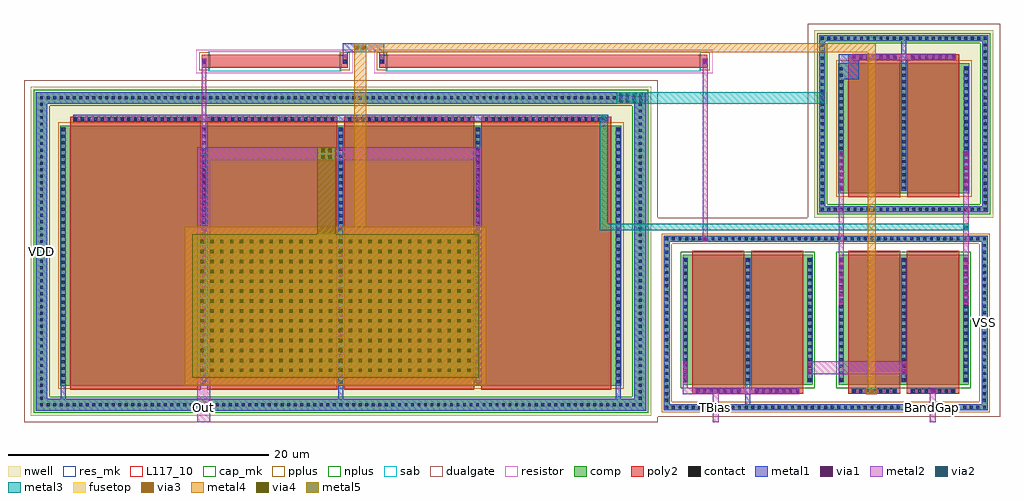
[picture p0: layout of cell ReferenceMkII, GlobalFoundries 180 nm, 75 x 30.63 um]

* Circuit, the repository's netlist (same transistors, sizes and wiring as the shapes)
* ReferenceMkII: 1.7 V bias LDO (one LDOMkI + divider + feed-forward cap + tail diode)
* Same devices/values as the 1V7 branch of Schematic/LDO/ReferenceMkI.sch.
.subckt ReferenceMkII VDD VSS BandGap TBias Out
* ErrorAmplifierNMOSMkI
MX1 mn mn VDD VDD pfet_06v0 W=10u L=4u
MX2 G mn VDD VDD pfet_06v0 W=10u L=4u
MX3 G BandGap tail VSS nfet_06v0 W=10u L=4u
MX4 tail TBias VSS VSS nfet_06v0 W=10u L=4u
MX5 mn FB tail VSS nfet_06v0 W=10u L=4u
* LDOMkI pass device
MP Out G VDD VDD pfet_06v0 W=80u L=10u
* tail bias diode (X2 in ReferenceMkI)
MXB TBias TBias VSS VSS nfet_06v0 W=10u L=4u
* divider and feed-forward cap
RR5 Out FB VSS ppolyf_u_1k W=1u L=10u
RR7 FB VSS VSS ppolyf_u_1k W=1u L=24u
CC2 Out FB cap_mim_2f0fF W=11u L=22u
.ends

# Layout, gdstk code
import gdstk
lib = gdstk.Library(unit=1e-6, precision=1e-09)
def R(c, l, rs):  # rectangles x0, y0, x1, y1
    for r in rs: c.add(gdstk.rectangle(r[:2], r[2:], *l))
def A(c, l, x, y, w, h, nx, ny, dx, dy):  # array of equal rectangles
    R(c, l, [(x+i*dx, y+j*dy, x+i*dx+w, y+j*dy+h) for i in range(nx) for j in range(ny)])
def P(c, l, *ps):  # polygons
    for p in ps: c.add(gdstk.Polygon(p, *l))
nwell = (21, 0)
comp = (22, 0)
poly2 = (30, 0)
pplus = (31, 0)
nplus = (32, 0)
contact = (33, 0)
metal1 = (34, 0)
via1 = (35, 0)
metal2 = (36, 0)
via2 = (38, 0)
via3 = (40, 0)
via4 = (41, 0)
metal3 = (42, 0)
metal4 = (46, 0)
sab = (49, 0)
dualgate = (55, 0)
resistor = (62, 0)
fusetop = (75, 0)
metal5 = (81, 0)
res_mk = (110, 5)
cap_mk = (117, 5)
L117_10 = (117, 10)

pfet = lib.new_cell('pfet')
R(pfet, nwell, [(-1.24,-0.91,43.42,21.29)])
R(pfet, comp, [(-0.46,0,42.64,20)])
A(pfet, poly2, 0.31, -0.3, 10, 20.98, 4, 1, 10.52, 0)
R(pfet, pplus, [(-0.63,-0.24,42.81,20.24)])
A(pfet, contact, -0.34, 0.2, 0.22, 0.22, 1, 39, 0, 0.51)
A(pfet, contact, 10.46, 0.2, 0.22, 0.22, 3, 39, 10.52, 0.51)
A(pfet, contact, 42.3, 0.2, 0.22, 0.22, 1, 39, 0, 0.51)
A(pfet, contact, 0.61, 20.38, 0.22, 0.22, 19, 1, 0.51, 0)
A(pfet, contact, 11.13, 20.38, 0.22, 0.22, 19, 1, 0.51, 0)
A(pfet, contact, 21.65, 20.38, 0.22, 0.22, 19, 1, 0.51, 0)
A(pfet, contact, 32.17, 20.38, 0.22, 0.22, 19, 1, 0.51, 0)
A(pfet, metal1, 10.38, 0.12, 0.38, 19.76, 3, 1, 10.52, 0)
A(pfet, metal1, 0.53, 20.3, 9.56, 0.38, 4, 1, 10.52, 0)
R(pfet, metal1, [(-0.42,0.12,-0.04,19.88), (42.22,0.12,42.6,19.88)])
R(pfet, dualgate, [(-1.74,-1.41,43.92,21.79)])

nfet = lib.new_cell('nfet')
R(nfet, comp, [(-0.42,0,9.56,10)])
R(nfet, poly2, [(0.31,-0.66,4.31,10.3), (4.83,-0.66,8.83,10.3)])
R(nfet, nplus, [(-0.59,-0.24,9.73,10.24)])
A(nfet, contact, 0.67, -0.59, 0.22, 0.22, 7, 1, 0.51, 0)
A(nfet, contact, 5.19, -0.59, 0.22, 0.22, 7, 1, 0.51, 0)
A(nfet, contact, -0.32, 0.3, 0.22, 0.22, 3, 19, 4.78, 0.51)
A(nfet, metal1, -0.4, 0.22, 0.38, 9.56, 3, 1, 4.78, 0)
R(nfet, metal1, [(0.59,-0.67,4.03,-0.29), (5.11,-0.67,8.55,-0.29)])
R(nfet, dualgate, [(-0.84,-1.08,9.98,10.71)])

pfet_1 = lib.new_cell('pfet$1')
R(pfet_1, nwell, [(-1.24,-0.91,10.38,11.29)])
R(pfet_1, comp, [(-0.46,0,9.6,10)])
R(pfet_1, poly2, [(0.31,-0.3,4.31,10.68), (4.83,-0.3,8.83,10.68)])
R(pfet_1, pplus, [(-0.63,-0.24,9.77,10.24)])
A(pfet_1, contact, -0.34, 0.3, 0.22, 0.22, 3, 19, 4.8, 0.51)
A(pfet_1, contact, 0.67, 10.38, 0.22, 0.22, 7, 1, 0.51, 0)
A(pfet_1, contact, 5.19, 10.38, 0.22, 0.22, 7, 1, 0.51, 0)
A(pfet_1, metal1, -0.42, 0.22, 0.38, 9.56, 3, 1, 4.8, 0)
R(pfet_1, metal1, [(0.59,10.3,4.03,10.68), (5.11,10.3,8.55,10.68)])
R(pfet_1, dualgate, [(-1.74,-1.41,10.88,11.79)])

cap_mim = lib.new_cell('cap_mim')
A(cap_mim, via4, 0.61, 0.43, 0.26, 0.26, 28, 14, 0.76, 0.76)
R(cap_mim, metal4, [(-0.6,-0.6,22.6,11.6)])
R(cap_mim, fusetop, [(0,0,22,11)])
R(cap_mim, metal5, [(0,0,22,11)])
R(cap_mim, cap_mk, [(-0.6,-0.6,22.6,11.6)])
R(cap_mim, L117_10, [(0,0,22,0.1)])

referencemkii = lib.new_cell('ReferenceMkII')
R(referencemkii, nwell, [(0.5,0.5,48.2,25.78), (60.72,15.73,74.5,30.13)])
P(referencemkii, comp, [(0.9,0.9),(0.9,24.48),(1.8,24.48),(1.8,1.8),(46.9,1.8),(46.9,24.48),(0.9,24.48),(0.9,25.38),(47.8,25.38),(47.8,0.9)],
  [(49.16,0.94),(49.16,13.87),(49.62,13.87),(49.62,1.4),(73.58,1.4),(73.58,13.87),(49.16,13.87),(49.16,14.33),(74.04,14.33),(74.04,0.94)],
  [(61.12,16.13),(61.12,29.27),(61.58,29.27),(61.58,16.59),(73.64,16.59),(73.64,29.27),(61.12,29.27),(61.12,29.73),(74.1,29.73),(74.1,16.13)])
R(referencemkii, poly2, [(13.65,27.24,24.87,28.24), (27.3,27.24,52.52,28.24)])
R(referencemkii, pplus, [(13.47,27.06,14.26,28.42), (24.26,27.06,25.05,28.42), (27.12,27.06,27.91,28.42), (51.91,27.06,52.7,28.42)])
P(referencemkii, pplus, [(49,0.78),(49,13.71),(49.78,13.71),(49.78,1.56),(73.42,1.56),(73.42,13.71),(49,13.71),(49,14.49),(74.2,14.49),(74.2,0.78)])
P(referencemkii, nplus, [(0.74,0.74),(0.74,24.32),(1.96,24.32),(1.96,1.96),(46.74,1.96),(46.74,24.32),(0.74,24.32),(0.74,25.54),(47.96,25.54),(47.96,0.74)],
  [(60.96,15.97),(60.96,29.11),(61.74,29.11),(61.74,16.75),(73.48,16.75),(73.48,29.11),(60.96,29.11),(60.96,29.89),(74.26,29.89),(74.26,15.97)])
A(referencemkii, contact, 49.28, 1.06, 0.22, 0.22, 3, 2, 0.51, 12.93)
A(referencemkii, contact, 50.805, 1.06, 0.22, 0.22, 3, 2, 0.51, 12.93)
A(referencemkii, contact, 52.33, 1.06, 0.22, 0.22, 5, 2, 0.51, 12.93)
A(referencemkii, contact, 54.875, 1.06, 0.22, 0.22, 3, 2, 0.51, 12.93)
A(referencemkii, contact, 56.4, 1.06, 0.22, 0.22, 5, 2, 0.51, 12.93)
A(referencemkii, contact, 58.945, 1.06, 0.22, 0.22, 3, 2, 0.51, 12.93)
A(referencemkii, contact, 60.47, 1.06, 0.22, 0.22, 5, 2, 0.51, 12.93)
A(referencemkii, contact, 63.015, 1.06, 0.22, 0.22, 3, 2, 0.51, 12.93)
A(referencemkii, contact, 64.54, 1.06, 0.22, 0.22, 5, 2, 0.51, 12.93)
A(referencemkii, contact, 67.085, 1.06, 0.22, 0.22, 3, 2, 0.51, 12.93)
A(referencemkii, contact, 68.61, 1.06, 0.22, 0.22, 5, 2, 0.51, 12.93)
A(referencemkii, contact, 71.155, 1.06, 0.22, 0.22, 4, 2, 0.51, 12.93)
A(referencemkii, contact, 1.24, 1.24, 0.22, 0.22, 93, 2, 0.5, 23.58)
A(referencemkii, contact, 1.24, 2.245, 0.22, 0.22, 1, 3, 0, 0.5)
A(referencemkii, contact, 47.24, 2.245, 0.22, 0.22, 1, 3, 0, 0.5)
A(referencemkii, contact, 1.24, 3.75, 0.22, 0.22, 1, 3, 0, 0.5)
A(referencemkii, contact, 47.24, 3.75, 0.22, 0.22, 1, 3, 0, 0.5)
A(referencemkii, contact, 49.28, 5.2, 0.22, 0.22, 1, 3, 0, 0.515)
A(referencemkii, contact, 73.7, 5.2, 0.22, 0.22, 1, 3, 0, 0.515)
A(referencemkii, contact, 1.24, 5.255, 0.22, 0.22, 1, 3, 0, 0.5)
A(referencemkii, contact, 47.24, 5.255, 0.22, 0.22, 1, 3, 0, 0.5)
A(referencemkii, contact, 1.24, 6.76, 0.22, 0.22, 1, 3, 0, 0.5)
A(referencemkii, contact, 47.24, 6.76, 0.22, 0.22, 1, 3, 0, 0.5)
A(referencemkii, contact, 1.24, 8.265, 0.22, 0.22, 1, 3, 0, 0.5)
A(referencemkii, contact, 47.24, 8.265, 0.22, 0.22, 1, 3, 0, 0.5)
A(referencemkii, contact, 49.28, 8.82, 0.22, 0.22, 1, 3, 0, 0.515)
A(referencemkii, contact, 73.7, 8.82, 0.22, 0.22, 1, 3, 0, 0.515)
A(referencemkii, contact, 1.24, 9.77, 0.22, 0.22, 1, 3, 0, 0.5)
A(referencemkii, contact, 47.24, 9.77, 0.22, 0.22, 1, 3, 0, 0.5)
A(referencemkii, contact, 1.24, 11.275, 0.22, 0.22, 1, 3, 0, 0.5)
A(referencemkii, contact, 47.24, 11.275, 0.22, 0.22, 1, 3, 0, 0.5)
A(referencemkii, contact, 1.24, 13.785, 0.22, 0.22, 1, 3, 0, 0.5)
A(referencemkii, contact, 47.24, 13.785, 0.22, 0.22, 1, 3, 0, 0.5)
A(referencemkii, contact, 1.24, 15.29, 0.22, 0.22, 1, 3, 0, 0.5)
A(referencemkii, contact, 47.24, 15.29, 0.22, 0.22, 1, 3, 0, 0.5)
A(referencemkii, contact, 61.24, 16.25, 0.22, 0.22, 4, 2, 0.5, 13.14)
A(referencemkii, contact, 63.245, 16.25, 0.22, 0.22, 6, 2, 0.5, 13.14)
A(referencemkii, contact, 66.25, 16.25, 0.22, 0.22, 6, 2, 0.5, 13.14)
A(referencemkii, contact, 69.255, 16.25, 0.22, 0.22, 6, 2, 0.5, 13.14)
A(referencemkii, contact, 72.26, 16.25, 0.22, 0.22, 4, 2, 0.5, 13.14)
A(referencemkii, contact, 61.24, 16.755, 0.22, 0.22, 1, 6, 0, 0.505)
A(referencemkii, contact, 73.76, 16.755, 0.22, 0.22, 1, 6, 0, 0.505)
A(referencemkii, contact, 1.24, 16.795, 0.22, 0.22, 1, 3, 0, 0.5)
A(referencemkii, contact, 47.24, 16.795, 0.22, 0.22, 1, 3, 0, 0.5)
A(referencemkii, contact, 1.24, 18.3, 0.22, 0.22, 1, 3, 0, 0.5)
A(referencemkii, contact, 47.24, 18.3, 0.22, 0.22, 1, 3, 0, 0.5)
A(referencemkii, contact, 61.24, 19.79, 0.22, 0.22, 1, 13, 0, 0.505)
A(referencemkii, contact, 73.76, 19.79, 0.22, 0.22, 1, 13, 0, 0.505)
A(referencemkii, contact, 1.24, 19.805, 0.22, 0.22, 1, 3, 0, 0.5)
A(referencemkii, contact, 47.24, 19.805, 0.22, 0.22, 1, 3, 0, 0.5)
A(referencemkii, contact, 1.24, 21.31, 0.22, 0.22, 1, 3, 0, 0.5)
A(referencemkii, contact, 47.24, 21.31, 0.22, 0.22, 1, 3, 0, 0.5)
A(referencemkii, contact, 1.24, 22.815, 0.22, 0.22, 1, 3, 0, 0.5)
A(referencemkii, contact, 47.24, 22.815, 0.22, 0.22, 1, 3, 0, 0.5)
A(referencemkii, contact, 61.24, 26.36, 0.22, 0.22, 1, 6, 0, 0.505)
A(referencemkii, contact, 73.76, 26.36, 0.22, 0.22, 1, 6, 0, 0.505)
R(referencemkii, contact, [(73.19,1.06,73.41,1.28), (73.7,1.06,73.92,1.28), (49.28,1.575,49.5,1.795), (73.7,1.575,73.92,1.795), (1.24,1.74,1.46,1.96), (47.24,1.74,47.46,1.96), (49.28,2.095,49.5,2.315), (73.7,2.095,73.92,2.315), (49.28,2.61,49.5,2.83), (73.7,2.61,73.92,2.83), (49.28,3.13,49.5,3.35), (73.7,3.13,73.92,3.35), (49.28,3.645,49.5,3.865), (73.7,3.645,73.92,3.865), (49.28,4.165,49.5,4.385), (73.7,4.165,73.92,4.385), (49.28,4.68,49.5,4.9), (73.7,4.68,73.92,4.9), (49.28,6.75,49.5,6.97), (73.7,6.75,73.92,6.97), (49.28,7.265,49.5,7.485), (73.7,7.265,73.92,7.485), (49.28,7.785,49.5,8.005), (73.7,7.785,73.92,8.005), (49.28,8.3,49.5,8.52), (73.7,8.3,73.92,8.52), (49.28,10.37,49.5,10.59), (73.7,10.37,73.92,10.59), (49.28,10.885,49.5,11.105), (73.7,10.885,73.92,11.105), (49.28,11.405,49.5,11.625), (73.7,11.405,73.92,11.625), (49.28,11.92,49.5,12.14), (73.7,11.92,73.92,12.14), (49.28,12.44,49.5,12.66), (73.7,12.44,73.92,12.66), (1.24,12.78,1.46,13), (47.24,12.78,47.46,13), (49.28,12.955,49.5,13.175), (73.7,12.955,73.92,13.175), (1.24,13.28,1.46,13.5), (47.24,13.28,47.46,13.5), (49.28,13.475,49.5,13.695), (73.7,13.475,73.92,13.695), (73.19,13.99,73.41,14.21), (73.7,13.99,73.92,14.21), (1.24,24.32,1.46,24.54), (47.24,24.32,47.46,24.54), (13.72,27.63,13.94,27.85), (24.58,27.63,24.8,27.85), (27.37,27.63,27.59,27.85), (52.23,27.63,52.45,27.85)])
A(referencemkii, metal1, 2.84, 0.9, 0.38, 3.02, 3, 1, 21.32, 0)
R(referencemkii, metal1, [(55.42,0.94,55.8,4.09), (3.79,23.1,44.91,23.64), (62.62,26.37,64.13,28.27), (67.42,26.37,67.8,29.73), (13.64,27.55,14.02,27.93), (13.64,27.55,14.02,27.93), (24.5,27.55,24.88,27.93), (24.5,27.55,24.88,29.14), (27.29,27.55,27.67,27.93), (27.29,27.55,27.67,29.14), (52.15,27.55,52.53,27.93), (24.5,28.44,27.67,29.14)])
P(referencemkii, metal1, [(0.9,0.9),(0.9,24.48),(1.8,24.48),(1.8,1.8),(46.9,1.8),(46.9,24.48),(0.9,24.48),(0.9,25.38),(47.8,25.38),(47.8,0.9)],
  [(49.16,0.94),(49.16,13.87),(49.62,13.87),(49.62,1.4),(73.58,1.4),(73.58,13.87),(49.16,13.87),(49.16,14.33),(74.04,14.33),(74.04,0.94)],
  [(61.12,16.13),(61.12,29.27),(61.58,29.27),(61.58,16.59),(73.64,16.59),(73.64,29.27),(61.12,29.27),(61.12,29.73),(74.1,29.73),(74.1,16.13)])
A(referencemkii, via1, 51.66, 2.26, 0.26, 0.26, 7, 1, 0.52, 0)
A(referencemkii, via1, 56.18, 2.26, 0.26, 0.26, 7, 1, 0.52, 0)
A(referencemkii, via1, 50.7, 3.34, 0.26, 0.26, 1, 3, 0, 0.52)
A(referencemkii, via1, 13.7, 3.47, 0.26, 0.26, 1, 34, 0, 0.52)
A(referencemkii, via1, 34.74, 3.47, 0.26, 0.26, 1, 34, 0, 0.52)
A(referencemkii, via1, 62.68, 9.16, 0.26, 0.26, 1, 7, 0, 0.52)
A(referencemkii, via1, 72.24, 9.16, 0.26, 0.26, 1, 7, 0, 0.52)
A(referencemkii, via1, 62.68, 17.88, 0.26, 0.26, 1, 6, 0, 0.52)
A(referencemkii, via1, 72.28, 17.88, 0.26, 0.26, 1, 6, 0, 0.52)
A(referencemkii, via1, 45.735, 24.54, 0.26, 0.26, 4, 2, 0.52, 0.52)
A(referencemkii, via1, 63.66, 27.95, 0.26, 0.26, 7, 1, 0.52, 0)
A(referencemkii, via1, 68.18, 27.95, 0.26, 0.26, 7, 1, 0.52, 0)
R(referencemkii, via1, [(65.01,2.26,65.27,2.52), (69.72,2.26,69.98,2.52), (60.26,3.8,60.52,4.06), (67.46,3.8,67.72,4.06), (60.26,4.32,60.52,4.58), (67.46,4.32,67.72,4.58), (52.21,13.97,52.47,14.23), (44.41,23.24,44.67,23.5), (61.22,24.54,61.48,24.8), (61.22,25.06,61.48,25.32), (13.7,27.61,13.96,27.87), (52.21,27.61,52.47,27.87), (25.45,28.66,25.71,28.92), (25.97,28.66,26.23,28.92)])
R(referencemkii, metal2, [(13.33,0,14.33,1.44), (52.94,0,53.4,1.44), (69.62,0,70.08,1.44), (13.33,0.94,14.33,21.14), (52.94,0.94,53.4,2.64), (69.62,0.94,70.08,2.64), (50.64,2.14,51.02,4.69), (50.64,2.14,59.59,2.64), (64.74,2.14,65.54,2.64), (13.64,2.92,14.02,21.14), (34.68,2.92,35.06,21.14), (60.2,3.69,67.78,4.69), (62.62,9.05,63,20.81), (72.18,9.05,72.6,20.81), (52.15,13.87,52.53,27.93), (13.33,20.14,35.06,21.14), (13.64,20.14,35.06,21.14), (13.64,20.14,14.02,27.93), (44.24,23.1,44.84,23.64), (45.54,24.48,47.75,25.38), (61.12,24.48,61.58,25.38), (63.63,27.83,71.59,28.33), (25.39,28.44,26.29,29.14)])
A(referencemkii, via2, 45.735, 24.54, 0.26, 0.26, 4, 2, 0.52, 0.52)
R(referencemkii, via2, [(65.01,2.26,65.27,2.52), (72.26,14.86,72.52,15.12), (22.85,20.25,23.11,20.51), (23.37,20.25,23.63,20.51), (22.85,20.77,23.11,21.03), (23.37,20.77,23.63,21.03), (44.41,23.24,44.67,23.5), (61.22,24.54,61.48,24.8), (61.22,25.06,61.48,25.32), (25.45,28.66,25.71,28.92), (25.97,28.66,26.23,28.92)])
R(referencemkii, via3, [(65.01,2.26,65.27,2.52), (22.85,20.25,23.11,20.51), (23.37,20.25,23.63,20.51), (22.85,20.77,23.11,21.03), (23.37,20.77,23.63,21.03), (25.45,28.66,25.71,28.92), (25.97,28.66,26.23,28.92)])
R(referencemkii, via4, [(22.85,20.25,23.11,20.51), (23.37,20.25,23.63,20.51), (22.85,20.77,23.11,21.03), (23.37,20.77,23.63,21.03)])
R(referencemkii, metal3, [(64.74,2.14,65.54,2.64), (44.24,14.74,72.6,15.24), (44.24,14.74,44.84,23.64), (22.54,20.14,23.94,21.14), (44.24,23.1,44.84,23.64), (45.54,24.48,47.75,25.38), (45.54,24.48,61.58,25.38), (61.12,24.48,61.58,25.38), (25.39,28.44,26.29,29.14)])
R(referencemkii, metal4, [(64.74,2.14,65.54,2.64), (64.84,2.14,65.44,29.14), (25.39,13.44,26.29,29.14), (22.54,20.14,23.94,21.14), (25.39,28.44,26.29,29.14), (25.39,28.44,65.44,29.14)])
R(referencemkii, sab, [(14.16,26.96,24.36,28.52), (27.81,26.96,52.01,28.52)])
P(referencemkii, dualgate, [(0,0),(0,26.28),(48.7,26.28),(48.7,15.73),(60.22,15.73),(60.22,30.63),(75,30.63),(75,0.44),(48.7,0.44),(48.7,0)])
R(referencemkii, resistor, [(13.25,26.84,25.27,28.64), (26.9,26.84,52.92,28.64)])
R(referencemkii, metal5, [(22.54,13.44,23.94,21.14), (22.54,20.14,23.94,21.14)])
R(referencemkii, res_mk, [(14.26,27.24,24.26,28.24), (27.91,27.24,51.91,28.24)])
referencemkii.add(gdstk.Reference(pfet, (3.26,2.8)))
referencemkii.add(gdstk.Reference(nfet, (51.04,2.87)))
referencemkii.add(gdstk.Reference(nfet, (63.02,2.87)))
referencemkii.add(gdstk.Reference(pfet_1, (63.04,17.59)))
referencemkii.add(gdstk.Reference(cap_mim, (12.94,3.44)))
referencemkii.add(gdstk.Label('Out', (13.83,1.14), layer=36, texttype=10))
referencemkii.add(gdstk.Label('TBias', (53.17,1.14), layer=36, texttype=10))
referencemkii.add(gdstk.Label('BandGap', (69.85,1.14), layer=36, texttype=10))
referencemkii.add(gdstk.Label('VDD', (1.35,13.14), layer=34, texttype=10))
referencemkii.add(gdstk.Label('VSS', (73.81,7.635), layer=34, texttype=10))

lib.write_gds('ReferenceMkII.gds')
